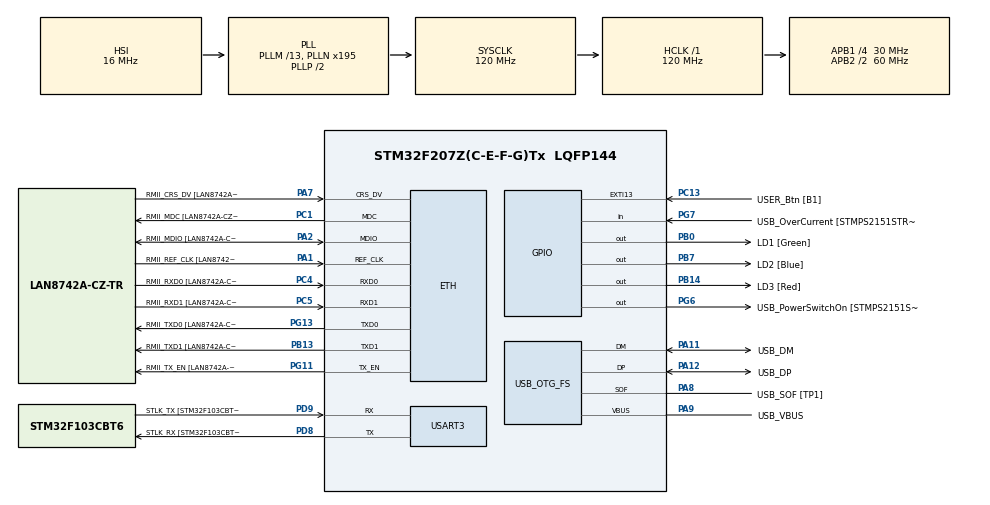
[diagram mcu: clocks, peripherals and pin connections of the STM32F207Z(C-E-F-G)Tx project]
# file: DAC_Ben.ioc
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ETH.MediaInterface=ETH_MEDIA_INTERFACE_RMII
ETH.PHY_Name=LAN8742A_PHY_ADDRESS
ETH.PHY_Value=0
ETH.PhyAddress=0
Mcu.Family=STM32F2
Mcu.Name=STM32F207Z(C-E-F-G)Tx
Mcu.Package=LQFP144
NVIC.PriorityGroup=NVIC_PRIORITYGROUP_4
PA1.GPIO_Label=RMII_REF_CLK [LAN8742A-CZ-TR_REFCLK0]
PA1.Mode=RMII
PA1.Signal=ETH_REF_CLK
PA10.GPIO_Label=USB_ID
PA10.Signal=USB_OTG_FS_ID
PA11.GPIO_Label=USB_DM
PA11.Mode=Device_Only
PA11.Signal=USB_OTG_FS_DM
PA12.GPIO_Label=USB_DP
PA12.Mode=Device_Only
PA12.Signal=USB_OTG_FS_DP
PA13.GPIO_Label=TMS
PA13.Mode=Serial_Wire
PA13.Signal=SYS_JTMS-SWDIO
PA14.GPIO_Label=TCK
PA14.Mode=Serial_Wire
PA14.Signal=SYS_JTCK-SWCLK
PA2.GPIO_Label=RMII_MDIO [LAN8742A-CZ-TR_MDIO]
PA2.Mode=RMII
PA2.Signal=ETH_MDIO
PA7.GPIO_Label=RMII_CRS_DV [LAN8742A-CZ-TR_CRS_DV]
PA7.Mode=RMII
PA7.Signal=ETH_CRS_DV
PA8.GPIO_Label=USB_SOF [TP1]
PA8.Mode=Activate_SOF_FS
PA8.Signal=USB_OTG_FS_SOF
PA9.GPIO_Label=USB_VBUS
PA9.Mode=Activate_VBUS
PA9.Signal=USB_OTG_FS_VBUS
PB0.GPIO_Label=LD1 [Green]
PB0.Signal=GPIO_Output
PB13.GPIO_Label=RMII_TXD1 [LAN8742A-CZ-TR_TXD1]
PB13.Mode=RMII
PB13.Signal=ETH_TXD1
PB14.GPIO_Label=LD3 [Red]
PB14.Signal=GPIO_Output
PB3.GPIO_Label=SWO
PB3.Signal=SYS_JTDO-SWO
PB7.GPIO_Label=LD2 [Blue]
PB7.Signal=GPIO_Output
PC1.GPIO_Label=RMII_MDC [LAN8742A-CZ-TR_MDC]
PC1.Mode=RMII
PC1.Signal=ETH_MDC
PC13.GPIO_Label=USER_Btn [B1]
PC13.Signal=GPXTI13
PC14-OSC32_IN.Mode=LSE-External-Oscillator
PC14-OSC32_IN.Signal=RCC_OSC32_IN
PC15-OSC32_OUT.Mode=LSE-External-Oscillator
PC15-OSC32_OUT.Signal=RCC_OSC32_OUT
PC4.GPIO_Label=RMII_RXD0 [LAN8742A-CZ-TR_RXD0]
PC4.Mode=RMII
PC4.Signal=ETH_RXD0
PC5.GPIO_Label=RMII_RXD1 [LAN8742A-CZ-TR_RXD1]
PC5.Mode=RMII
PC5.Signal=ETH_RXD1
PD8.GPIO_Label=STLK_RX [STM32F103CBT6_PA3]
PD8.Mode=Asynchronous
PD8.Signal=USART3_TX
PD9.GPIO_Label=STLK_TX [STM32F103CBT6_PA2]
PD9.Mode=Asynchronous
PD9.Signal=USART3_RX
PG11.GPIO_Label=RMII_TX_EN [LAN8742A-CZ-TR_TXEN]
PG11.Mode=RMII
PG11.Signal=ETH_TX_EN
PG13.GPIO_Label=RMII_TXD0 [LAN8742A-CZ-TR_TXD0]
PG13.Mode=RMII
PG13.Signal=ETH_TXD0
PG6.GPIO_Label=USB_PowerSwitchOn [STMPS2151STR_EN]
PG6.Signal=GPIO_Output
PG7.GPIO_Label=USB_OverCurrent [STMPS2151STR_FAULT]
PG7.Signal=GPIO_Input
PH0-OSC_IN.GPIO_Label=MCO [STM32F103CBT6_PA8]
PH0-OSC_IN.Mode=HSE-External-Clock-Source
PH0-OSC_IN.Signal=RCC_OSC_IN
PH1-OSC_OUT.Mode=HSE-External-Clock-Source
PH1-OSC_OUT.Signal=RCC_OSC_OUT
ProjectManager.HeapSize=0x200
ProjectManager.StackSize=0x400
ProjectManager.TargetToolchain=STM32CubeIDE
RCC.48MHZClocksFreq_Value=48000000
RCC.AHBFreq_Value=120000000
RCC.APB1CLKDivider=RCC_HCLK_DIV4
RCC.APB1Freq_Value=30000000
RCC.APB1TimFreq_Value=60000000
RCC.APB2CLKDivider=RCC_HCLK_DIV2
RCC.APB2Freq_Value=60000000
RCC.APB2TimFreq_Value=120000000
RCC.CortexFreq_Value=120000000
RCC.HCLKFreq_Value=120000000
RCC.HSE_VALUE=8000000
RCC.HSI_VALUE=16000000
RCC.PLLM=13
RCC.PLLMUL=RCC_PLL_MUL9
RCC.PLLN=195
RCC.PLLQ=5
RCC.PRESCALERUSB=RCC_USBCLKSOURCE_PLL_DIV1_5
RCC.SYSCLKFreq_VALUE=120000000
RCC.SYSCLKSource=RCC_SYSCLKSOURCE_PLLCLK
RCC.SYSCLKSourceVirtual=RCC_SYSCLKSOURCE_PLLCLK
RCC.USBFreq_Value=48000000
RCC.VCOOutputFreq_Value=240000000
USART3.VirtualMode=VM_ASYNC
USB_OTG_FS.VirtualMode=Device_Only
board=NUCLEO-F207ZG

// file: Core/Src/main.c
/* USER CODE BEGIN Header */
/**
  ******************************************************************************
  * @file           : main.c
  * @brief          : Main program body
  ******************************************************************************
  * @attention
  *
  * Copyright (c) 2022 STMicroelectronics.
  * All rights reserved.
  *
  * This software is licensed under terms that can be found in the LICENSE file
  * in the root directory of this software component.
  * If no LICENSE file comes with this software, it is provided AS-IS.
  *
  ******************************************************************************
  */
/* USER CODE END Header */
#include "main.h"

/* USER CODE BEGIN PM */
#define Ntap 31
/* USER CODE END PM */

ETH_HandleTypeDef heth;

UART_HandleTypeDef huart3;

PCD_HandleTypeDef hpcd_USB_OTG_FS;

/* USER CODE BEGIN PV */

float x_in[301] ={1,
		0,
		0,
		0,
		0,
		0,
		0,
		0,
		0,
		0,
		1,
		0,
		0,
		0,
		0,
		0,
		0,
		0,
		0,
		0,
		1,
		0,
		0,
		0,
		0,
		0,
		0,
		0,
		0,
		0,
		-1,
		0,
		0,
		0,
		0,
		0,
		0,
		0,
		0,
		0,
		-1,
		0,
		0,
		0,
		0,
		0,
		0,
		0,
		0,
		0,
		0,
		0,
		0,
		0,
		0,
		0,
		0,
		0,
		0,
		0,
		0,
		0,
		0,
		0,
		0,
		0,
		0,
		0,
		0,
		0,
		0,
		0,
		0,
		0,
		0,
		0,
		0,
		0,
		0,
		0,
		0,
		0,
		0,
		0,
		0,
		0,
		0,
		0,
		0,
		0,
		0,
		0,
		0,
		0,
		0,
		0,
		0,
		0,
		0,
		0,
		0,
		0,
		0,
		0,
		0,
		0,
		0,
		0,
		0,
		0,
		0,
		0,
		0,
		0,
		0,
		0,
		0,
		0,
		0,
		0,
		0,
		0,
		0,
		0,
		0,
		0,
		0,
		0,
		0,
		0,
		0,
		0,
		0,
		0,
		0,
		0,
		0,
		0,
		0,
		0,
		0,
		0,
		0,
		0,
		0,
		0,
		0,
		0,
		0,
		0,
		0,
		0,
		0,
		0,
		0,
		0,
		0,
		0,
		0,
		0,
		0,
		0,
		0,
		0,
		0,
		0,
		0,
		0,
		0,
		0,
		0,
		0,
		0,
		0,
		0,
		0,
		0,
		0,
		0,
		0,
		0,
		0,
		0,
		0,
		0,
		0,
		0,
		0,
		0,
		0,
		0,
		0,
		0,
		0,
		0,
		0,
		0,
		0,
		0,
		0,
		0,
		0,
		0,
		0,
		0,
		0,
		0,
		0,
		0,
		0,
		0,
		0,
		0,
		0,
		0,
		0,
		0,
		0,
		0,
		0,
		0,
		0,
		0,
		0,
		0,
		0,
		0,
		0,
		0,
		0,
		0,
		0,
		0,
		0,
		0,
		0,
		0,
		0,
		0,
		0,
		0,
		0,
		0,
		0,
		0,
		0,
		0,
		0,
		0,
		0,
		0,
		0,
		0,
		0,
		0,
		0,
		0,
		0,
		0,
		0,
		0,
		0,
		0,
		0,
		0,
		0,
		0,
		0,
		0,
		0,
		0,
		0,
		0,
		0,
		0,
		0,
		0,
		0,
		0,
		0,
		0,
		0,
		0,
		0,
		0,
		0,
		0,
		0,
		0,
		0,
		0,
		0,
		0,
		0,
		0,
		0,
		0,
		0,
		0,
		0,
		0};
float y_out[301]={};
int k;
int count;
/* USER CODE END PV */

void SystemClock_Config(void);
static void MX_GPIO_Init(void);
static void MX_ETH_Init(void);
static void MX_USART3_UART_Init(void);
static void MX_USB_OTG_FS_PCD_Init(void);

int main(void)
{

  /* MCU Configuration--------------------------------------------------------*/

  /* Reset of all peripherals, Initializes the Flash interface and the Systick. */
  HAL_Init();

  /* Configure the system clock */
  SystemClock_Config();

  /* Initialize all configured peripherals */
  MX_GPIO_Init();
  MX_ETH_Init();
  MX_USART3_UART_Init();
  MX_USB_OTG_FS_PCD_Init();

  /* Infinite loop */
  /* USER CODE BEGIN WHILE */
  while (1)
  {

	//   		 y_out[0] = DC_Update(&dc_convo, x_in[0]);

    /* USER CODE END WHILE */

    /* USER CODE BEGIN 3 */
	for ( k = 0; k < 10; k++)
	{
	   	count++;
	   		 }

  }
  /* USER CODE END 3 */
}

void SystemClock_Config(void)
{
  RCC_OscInitTypeDef RCC_OscInitStruct = {0};
  RCC_ClkInitTypeDef RCC_ClkInitStruct = {0};

  /** Initializes the RCC Oscillators according to the specified parameters
  * in the RCC_OscInitTypeDef structure.
  */
  RCC_OscInitStruct.OscillatorType = RCC_OSCILLATORTYPE_HSI;
  RCC_OscInitStruct.HSIState = RCC_HSI_ON;
  RCC_OscInitStruct.HSICalibrationValue = RCC_HSICALIBRATION_DEFAULT;
  RCC_OscInitStruct.PLL.PLLState = RCC_PLL_ON;
  RCC_OscInitStruct.PLL.PLLSource = RCC_PLLSOURCE_HSI;
  RCC_OscInitStruct.PLL.PLLM = 13;
  RCC_OscInitStruct.PLL.PLLN = 195;
  RCC_OscInitStruct.PLL.PLLP = RCC_PLLP_DIV2;
  RCC_OscInitStruct.PLL.PLLQ = 5;
  if (HAL_RCC_OscConfig(&RCC_OscInitStruct) != HAL_OK)
  {
    Error_Handler();
  }
  /** Initializes the CPU, AHB and APB buses clocks
  */
  RCC_ClkInitStruct.ClockType = RCC_CLOCKTYPE_HCLK|RCC_CLOCKTYPE_SYSCLK
                              |RCC_CLOCKTYPE_PCLK1|RCC_CLOCKTYPE_PCLK2;
  RCC_ClkInitStruct.SYSCLKSource = RCC_SYSCLKSOURCE_PLLCLK;
  RCC_ClkInitStruct.AHBCLKDivider = RCC_SYSCLK_DIV1;
  RCC_ClkInitStruct.APB1CLKDivider = RCC_HCLK_DIV4;
  RCC_ClkInitStruct.APB2CLKDivider = RCC_HCLK_DIV2;

  if (HAL_RCC_ClockConfig(&RCC_ClkInitStruct, FLASH_LATENCY_3) != HAL_OK)
  {
    Error_Handler();
  }
}

static void MX_ETH_Init(void)
{

   static uint8_t MACAddr[6];

  heth.Instance = ETH;
  heth.Init.AutoNegotiation = ETH_AUTONEGOTIATION_ENABLE;
  heth.Init.Speed = ETH_SPEED_100M;
  heth.Init.DuplexMode = ETH_MODE_FULLDUPLEX;
  heth.Init.PhyAddress = LAN8742A_PHY_ADDRESS;
  MACAddr[0] = 0x00;
  MACAddr[1] = 0x80;
  MACAddr[2] = 0xE1;
  MACAddr[3] = 0x00;
  MACAddr[4] = 0x00;
  MACAddr[5] = 0x00;
  heth.Init.MACAddr = &MACAddr[0];
  heth.Init.RxMode = ETH_RXPOLLING_MODE;
  heth.Init.ChecksumMode = ETH_CHECKSUM_BY_HARDWARE;
  heth.Init.MediaInterface = ETH_MEDIA_INTERFACE_RMII;

  if (HAL_ETH_Init(&heth) != HAL_OK)
  {
    Error_Handler();
  }

}

static void MX_USART3_UART_Init(void)
{

  huart3.Instance = USART3;
  huart3.Init.BaudRate = 115200;
  huart3.Init.WordLength = UART_WORDLENGTH_8B;
  huart3.Init.StopBits = UART_STOPBITS_1;
  huart3.Init.Parity = UART_PARITY_NONE;
  huart3.Init.Mode = UART_MODE_TX_RX;
  huart3.Init.HwFlowCtl = UART_HWCONTROL_NONE;
  huart3.Init.OverSampling = UART_OVERSAMPLING_16;
  if (HAL_UART_Init(&huart3) != HAL_OK)
  {
    Error_Handler();
  }

}

static void MX_USB_OTG_FS_PCD_Init(void)
{

  hpcd_USB_OTG_FS.Instance = USB_OTG_FS;
  hpcd_USB_OTG_FS.Init.dev_endpoints = 4;
  hpcd_USB_OTG_FS.Init.speed = PCD_SPEED_FULL;
  hpcd_USB_OTG_FS.Init.dma_enable = DISABLE;
  hpcd_USB_OTG_FS.Init.phy_itface = PCD_PHY_EMBEDDED;
  hpcd_USB_OTG_FS.Init.Sof_enable = ENABLE;
  hpcd_USB_OTG_FS.Init.low_power_enable = DISABLE;
  hpcd_USB_OTG_FS.Init.vbus_sensing_enable = ENABLE;
  hpcd_USB_OTG_FS.Init.use_dedicated_ep1 = DISABLE;
  if (HAL_PCD_Init(&hpcd_USB_OTG_FS) != HAL_OK)
  {
    Error_Handler();
  }

}

static void MX_GPIO_Init(void)
{
  GPIO_InitTypeDef GPIO_InitStruct = {0};

  /* GPIO Ports Clock Enable */
  __HAL_RCC_GPIOC_CLK_ENABLE();
  __HAL_RCC_GPIOH_CLK_ENABLE();
  __HAL_RCC_GPIOA_CLK_ENABLE();
  __HAL_RCC_GPIOB_CLK_ENABLE();
  __HAL_RCC_GPIOD_CLK_ENABLE();
  __HAL_RCC_GPIOG_CLK_ENABLE();

  /*Configure GPIO pin Output Level */
  HAL_GPIO_WritePin(GPIOB, LD1_Pin|LD3_Pin|LD2_Pin, GPIO_PIN_RESET);

  /*Configure GPIO pin Output Level */
  HAL_GPIO_WritePin(USB_PowerSwitchOn_GPIO_Port, USB_PowerSwitchOn_Pin, GPIO_PIN_RESET);

  /*Configure GPIO pin : USER_Btn_Pin */
  GPIO_InitStruct.Pin = USER_Btn_Pin;
  GPIO_InitStruct.Mode = GPIO_MODE_IT_RISING;
  GPIO_InitStruct.Pull = GPIO_NOPULL;
  HAL_GPIO_Init(USER_Btn_GPIO_Port, &GPIO_InitStruct);

  /*Configure GPIO pins : LD1_Pin LD3_Pin LD2_Pin */
  GPIO_InitStruct.Pin = LD1_Pin|LD3_Pin|LD2_Pin;
  GPIO_InitStruct.Mode = GPIO_MODE_OUTPUT_PP;
  GPIO_InitStruct.Pull = GPIO_NOPULL;
  GPIO_InitStruct.Speed = GPIO_SPEED_FREQ_LOW;
  HAL_GPIO_Init(GPIOB, &GPIO_InitStruct);

  /*Configure GPIO pin : USB_PowerSwitchOn_Pin */
  GPIO_InitStruct.Pin = USB_PowerSwitchOn_Pin;
  GPIO_InitStruct.Mode = GPIO_MODE_OUTPUT_PP;
  GPIO_InitStruct.Pull = GPIO_NOPULL;
  GPIO_InitStruct.Speed = GPIO_SPEED_FREQ_LOW;
  HAL_GPIO_Init(USB_PowerSwitchOn_GPIO_Port, &GPIO_InitStruct);

  /*Configure GPIO pin : USB_OverCurrent_Pin */
  GPIO_InitStruct.Pin = USB_OverCurrent_Pin;
  GPIO_InitStruct.Mode = GPIO_MODE_INPUT;
  GPIO_InitStruct.Pull = GPIO_NOPULL;
  HAL_GPIO_Init(USB_OverCurrent_GPIO_Port, &GPIO_InitStruct);

}

void Error_Handler(void)
{
  __disable_irq();
  while (1)
  {
  }
}
